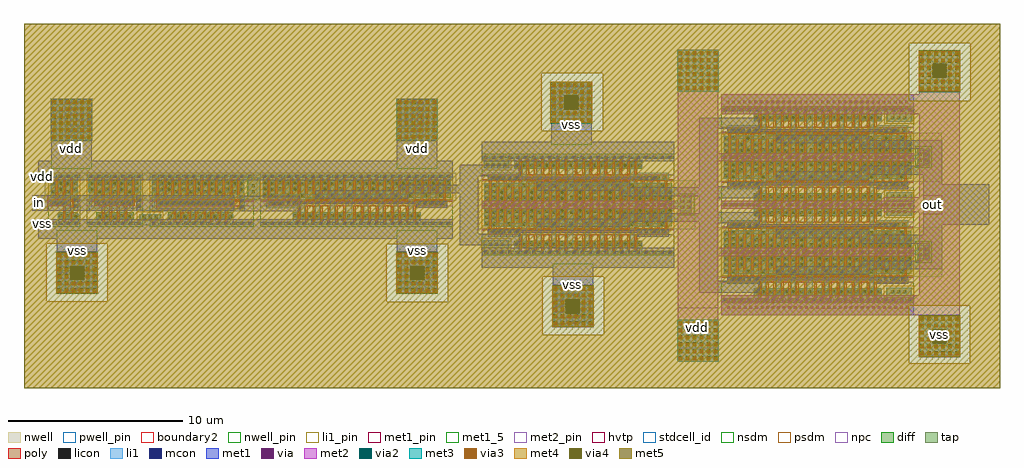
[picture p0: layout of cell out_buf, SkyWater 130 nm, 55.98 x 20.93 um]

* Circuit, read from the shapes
.subckt out_buf in out vdd vss
XM1 sky130_fd_sc_hd__clkinv_4_1/A in vss vss sky130_fd_pr__nfet_01v8 w=0.42 l=0.15 m=2
XM2 sky130_fd_sc_hd__clkinv_8_2/A sky130_fd_sc_hd__clkinv_4_1/A vss vss sky130_fd_pr__nfet_01v8 w=0.42 l=0.15 m=4
XM3 sky130_fd_sc_hd__clkinv_16_3/A sky130_fd_sc_hd__clkinv_8_2/A vss vss sky130_fd_pr__nfet_01v8 w=0.42 l=0.15 m=8
XM4 sky130_fd_sc_hd__clkinv_16_4/A sky130_fd_sc_hd__clkinv_16_3/A vss vss sky130_fd_pr__nfet_01v8 w=0.42 l=0.15 m=16
XM5 sky130_fd_sc_hd__clkinv_16_6/A sky130_fd_sc_hd__clkinv_16_4/A vss vss sky130_fd_pr__nfet_01v8 w=0.42 l=0.15 m=32
XM6 out sky130_fd_sc_hd__clkinv_16_6/A vss vss sky130_fd_pr__nfet_01v8 w=0.42 l=0.15 m=64
XM7 vdd in sky130_fd_sc_hd__clkinv_4_1/A vdd sky130_fd_pr__pfet_01v8_hvt w=1 l=0.15 m=3
XM8 sky130_fd_sc_hd__clkinv_8_2/A sky130_fd_sc_hd__clkinv_4_1/A vdd vdd sky130_fd_pr__pfet_01v8_hvt w=1 l=0.15 m=6
XM9 sky130_fd_sc_hd__clkinv_16_3/A sky130_fd_sc_hd__clkinv_8_2/A vdd vdd sky130_fd_pr__pfet_01v8_hvt w=1 l=0.15 m=12
XM10 sky130_fd_sc_hd__clkinv_16_4/A sky130_fd_sc_hd__clkinv_16_3/A vdd vdd sky130_fd_pr__pfet_01v8_hvt w=1 l=0.15 m=24
XM11 sky130_fd_sc_hd__clkinv_16_6/A sky130_fd_sc_hd__clkinv_16_4/A vdd vdd sky130_fd_pr__pfet_01v8_hvt w=1 l=0.15 m=48
XM12 out sky130_fd_sc_hd__clkinv_16_6/A vdd vdd sky130_fd_pr__pfet_01v8_hvt w=1 l=0.15 m=96
.ends

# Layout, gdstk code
import gdstk
lib = gdstk.Library(unit=1e-6, precision=1e-09)
def R(c, l, rs):  # rectangles x0, y0, x1, y1
    for r in rs: c.add(gdstk.rectangle(r[:2], r[2:], *l))
def A(c, l, x, y, w, h, nx, ny, dx, dy):  # array of equal rectangles
    R(c, l, [(x+i*dx, y+j*dy, x+i*dx+w, y+j*dy+h) for i in range(nx) for j in range(ny)])
def P(c, l, *ps):  # polygons
    for p in ps: c.add(gdstk.Polygon(p, *l))
nwell_pin = (64, 16)
nwell = (64, 20)
diff = (65, 20)
tap = (65, 44)
poly = (66, 20)
licon = (66, 44)
li1_pin = (67, 16)
li1 = (67, 20)
mcon = (67, 44)
met1_5 = (68, 5)
met1_pin = (68, 16)
met1 = (68, 20)
via = (68, 44)
met2_pin = (69, 16)
met2 = (69, 20)
via2 = (69, 44)
met3 = (70, 20)
via3 = (70, 44)
met4 = (71, 20)
via4 = (71, 44)
met5 = (72, 20)
hvtp = (78, 44)
stdcell_id = (81, 4)
nsdm = (93, 44)
psdm = (94, 20)
npc = (95, 20)
pwell_pin = (122, 16)
boundary2 = (236, 0)

sky130_fd_sc_hd__clkinv_ = lib.new_cell('sky130_fd_sc_hd__clkinv_2')
R(sky130_fd_sc_hd__clkinv_, nwell_pin, [(0.145,2.635,0.315,2.805)])
R(sky130_fd_sc_hd__clkinv_, nwell, [(-0.19,1.305,2.03,2.91)])
R(sky130_fd_sc_hd__clkinv_, diff, [(0.6,0.235,1.705,0.655), (0.155,1.485,1.695,2.485)])
R(sky130_fd_sc_hd__clkinv_, poly, [(0.155,1.015,0.865,1.025), (0.155,1.295,0.42,1.305)])
P(sky130_fd_sc_hd__clkinv_, poly, [(1.445,1.295),(1.43,1.295),(1.43,2.615),(1.28,2.615),(1.28,1.295),(1,1.295),(1,2.615),(0.85,2.615),(0.85,1.295),(0.57,1.295),(0.57,2.615),(0.42,2.615),(0.42,1.295),(0.155,1.295),(0.155,1.025),(0.865,1.025),(0.865,0.105),(1.015,0.105),(1.015,1.025),(1.295,1.025),(1.295,0.105),(1.445,0.105)])
A(sky130_fd_sc_hd__clkinv_, licon, 0.235, 1.075, 0.17, 0.17, 3, 1, 0.34, 0)
R(sky130_fd_sc_hd__clkinv_, licon, [(1.495,0.305,1.665,0.475), (0.64,0.36,0.81,0.53), (1.07,0.36,1.24,0.53), (0.195,1.745,0.365,1.915), (1.055,1.745,1.225,1.915), (0.625,1.88,0.795,2.05), (1.485,1.88,1.655,2.05), (0.195,2.185,0.365,2.355), (1.055,2.185,1.225,2.355), (0.625,2.22,0.795,2.39), (1.485,2.22,1.655,2.39)])
A(sky130_fd_sc_hd__clkinv_, li1_pin, 0.145, 1.105, 0.17, 0.17, 4, 1, 0.46, 0)
R(sky130_fd_sc_hd__clkinv_, li1_pin, [(1.525,0.765,1.695,0.935), (1.525,1.445,1.695,1.615)])
R(sky130_fd_sc_hd__clkinv_, li1, [(0.085,1.065,1.305,1.29)])
P(sky130_fd_sc_hd__clkinv_, li1, [(1.755,1.63),(1.27,1.63),(1.27,2.435),(1.01,2.435),(1.01,1.63),(0.41,1.63),(0.41,2.435),(0.155,2.435),(0.155,1.46),(1.475,1.46),(1.475,0.895),(1.025,0.895),(1.025,0.28),(1.25,0.28),(1.25,0.725),(1.755,0.725)],
  [(1.84,0.085),(1.75,0.085),(1.75,0.555),(1.42,0.555),(1.42,0.085),(0.855,0.085),(0.855,0.61),(0.56,0.61),(0.56,0.085),(0,0.085),(0,-0.085),(1.84,-0.085)],
  [(1.84,2.805),(0,2.805),(0,2.635),(0.58,2.635),(0.58,1.8),(0.84,1.8),(0.84,2.635),(1.44,2.635),(1.44,1.8),(1.695,1.8),(1.695,2.635),(1.84,2.635)])
A(sky130_fd_sc_hd__clkinv_, mcon, 0.145, -0.085, 0.17, 0.17, 4, 2, 0.46, 2.72)
R(sky130_fd_sc_hd__clkinv_, met1_pin, [(0.145,-0.085,0.315,0.085), (0.145,2.635,0.315,2.805)])
R(sky130_fd_sc_hd__clkinv_, hvtp, [(0,1.25,1.84,2.72)])
R(sky130_fd_sc_hd__clkinv_, stdcell_id, [(0,0,1.84,2.72)])
R(sky130_fd_sc_hd__clkinv_, nsdm, [(0,-0.19,1.84,1.015)])
R(sky130_fd_sc_hd__clkinv_, psdm, [(0,1.355,1.84,2.91)])
R(sky130_fd_sc_hd__clkinv_, npc, [(0,0.975,1.84,1.345)])
R(sky130_fd_sc_hd__clkinv_, pwell_pin, [(0.145,-0.085,0.315,0.085)])
R(sky130_fd_sc_hd__clkinv_, boundary2, [(0,0,1.84,2.72)])
sky130_fd_sc_hd__clkinv_.add(gdstk.FlexPath([(0,2.72),(1.84,2.72)], 0.48, ends="flush", simple_path=True, layer=68, datatype=20))  # met1
sky130_fd_sc_hd__clkinv_.add(gdstk.FlexPath([(0,0),(1.84,0)], 0.48, ends="flush", simple_path=True, layer=68, datatype=20))  # met1
sky130_fd_sc_hd__clkinv_.add(gdstk.Label('Y', (1.61,0.85), layer=67, texttype=5))
sky130_fd_sc_hd__clkinv_.add(gdstk.Label('Y', (1.61,1.19), layer=67, texttype=5))
sky130_fd_sc_hd__clkinv_.add(gdstk.Label('Y', (1.61,1.53), layer=67, texttype=5))
sky130_fd_sc_hd__clkinv_.add(gdstk.Label('A', (1.15,1.19), layer=67, texttype=5))
sky130_fd_sc_hd__clkinv_.add(gdstk.Label('A', (0.69,1.19), layer=67, texttype=5))
sky130_fd_sc_hd__clkinv_.add(gdstk.Label('A', (0.23,1.19), layer=67, texttype=5))
sky130_fd_sc_hd__clkinv_.add(gdstk.Label('VNB', (0.23,0), layer=64, texttype=59))
sky130_fd_sc_hd__clkinv_.add(gdstk.Label('VPB', (0.23,2.72), layer=64, texttype=5))
sky130_fd_sc_hd__clkinv_.add(gdstk.Label('VPWR', (0.23,2.72), layer=68, texttype=5))
sky130_fd_sc_hd__clkinv_.add(gdstk.Label('VGND', (0.23,0), layer=68, texttype=5))
sky130_fd_sc_hd__clkinv_.add(gdstk.Label('clkinv_2', (0,0), layer=83, texttype=44))

c_sky130_fd_sc_hd__clkinv_ = lib.new_cell('sky130_fd_sc_hd__clkinv_4')
R(c_sky130_fd_sc_hd__clkinv_, nwell_pin, [(0.145,2.635,0.315,2.805)])
R(c_sky130_fd_sc_hd__clkinv_, nwell, [(-0.19,1.305,3.41,2.91)])
R(c_sky130_fd_sc_hd__clkinv_, diff, [(0.54,0.235,2.705,0.655), (0.135,1.485,3.085,2.485)])
P(c_sky130_fd_sc_hd__clkinv_, poly, [(2.74,2.615),(2.59,2.615),(2.59,1.295),(2.31,1.295),(2.31,2.615),(2.16,2.615),(2.16,1.295),(1.88,1.295),(1.88,2.615),(1.73,2.615),(1.73,1.295),(1.45,1.295),(1.45,2.615),(1.3,2.615),(1.3,1.295),(1.02,1.295),(1.02,2.615),(0.87,2.615),(0.87,1.295),(0.59,1.295),(0.59,2.615),(0.44,2.615),(0.44,1.025),(0.87,1.025),(0.87,0.105),(1.02,0.105),(1.02,1.025),(1.3,1.025),(1.3,0.105),(1.45,0.105),(1.45,1.025),(1.73,1.025),(1.73,0.105),(1.88,0.105),(1.88,1.025),(2.16,1.025),(2.16,0.105),(2.31,0.105),(2.31,1.025),(2.74,1.025)])
A(c_sky130_fd_sc_hd__clkinv_, licon, 0.645, 0.305, 0.17, 0.17, 3, 2, 0.86, 1.44)
A(c_sky130_fd_sc_hd__clkinv_, licon, 0.575, 1.075, 0.17, 0.17, 6, 1, 0.34, 0)
A(c_sky130_fd_sc_hd__clkinv_, licon, 0.215, 1.88, 0.17, 0.17, 4, 2, 0.86, 0.34)
A(c_sky130_fd_sc_hd__clkinv_, licon, 0.645, 2.185, 0.17, 0.17, 3, 1, 0.86, 0)
R(c_sky130_fd_sc_hd__clkinv_, licon, [(1.075,0.36,1.245,0.53), (1.935,0.36,2.105,0.53)])
A(c_sky130_fd_sc_hd__clkinv_, li1_pin, 0.605, 1.105, 0.17, 0.17, 6, 1, 0.46, 0)
R(c_sky130_fd_sc_hd__clkinv_, li1_pin, [(2.905,0.765,3.075,0.935), (2.905,1.445,3.075,1.615)])
R(c_sky130_fd_sc_hd__clkinv_, li1, [(0.445,1.065,2.66,1.29)])
P(c_sky130_fd_sc_hd__clkinv_, li1, [(3.22,0.085),(2.615,0.085),(2.615,0.555),(2.315,0.555),(2.315,0.085),(1.72,0.085),(1.72,0.555),(1.46,0.555),(1.46,0.085),(0.86,0.085),(0.86,0.555),(0.565,0.555),(0.565,0.085),(0,0.085),(0,-0.085),(3.22,-0.085)],
  [(3.22,2.805),(0,2.805),(0,2.635),(0.085,2.635),(0.085,1.8),(0.43,1.8),(0.43,2.635),(1.03,2.635),(1.03,1.8),(1.29,1.8),(1.29,2.635),(1.89,2.635),(1.89,1.8),(2.15,1.8),(2.15,2.635),(2.75,2.635),(2.75,1.8),(3.135,1.8),(3.135,2.635),(3.22,2.635)],
  [(3.135,1.63),(2.835,1.63),(2.835,0.895),(0.275,0.895),(0.275,1.46),(2.835,1.46),(2.835,1.63),(2.58,1.63),(2.58,2.435),(2.32,2.435),(2.32,1.63),(1.72,1.63),(1.72,2.435),(1.465,2.435),(1.465,1.63),(0.86,1.63),(0.86,2.435),(0.605,2.435),(0.605,1.63),(0.105,1.63),(0.105,0.725),(1.03,0.725),(1.03,0.28),(1.29,0.28),(1.29,0.725),(1.89,0.725),(1.89,0.28),(2.145,0.28),(2.145,0.725),(3.135,0.725)])
A(c_sky130_fd_sc_hd__clkinv_, mcon, 0.145, -0.085, 0.17, 0.17, 7, 2, 0.46, 2.72)
R(c_sky130_fd_sc_hd__clkinv_, met1_pin, [(0.145,-0.085,0.315,0.085), (0.145,2.635,0.315,2.805)])
R(c_sky130_fd_sc_hd__clkinv_, hvtp, [(0,1.25,3.22,2.72)])
R(c_sky130_fd_sc_hd__clkinv_, stdcell_id, [(0,0,3.22,2.72)])
R(c_sky130_fd_sc_hd__clkinv_, nsdm, [(0,-0.19,3.22,1.015)])
R(c_sky130_fd_sc_hd__clkinv_, psdm, [(0,1.355,3.22,2.91)])
R(c_sky130_fd_sc_hd__clkinv_, npc, [(0,0.975,3.22,1.345)])
R(c_sky130_fd_sc_hd__clkinv_, pwell_pin, [(0.145,-0.085,0.315,0.085)])
R(c_sky130_fd_sc_hd__clkinv_, boundary2, [(0,0,3.22,2.72)])
c_sky130_fd_sc_hd__clkinv_.add(gdstk.FlexPath([(0,2.72),(3.22,2.72)], 0.48, ends="flush", simple_path=True, layer=68, datatype=20))  # met1
c_sky130_fd_sc_hd__clkinv_.add(gdstk.FlexPath([(0,0),(3.22,0)], 0.48, ends="flush", simple_path=True, layer=68, datatype=20))  # met1
c_sky130_fd_sc_hd__clkinv_.add(gdstk.Label('A', (1.15,1.19), layer=67, texttype=5))
c_sky130_fd_sc_hd__clkinv_.add(gdstk.Label('A', (1.61,1.19), layer=67, texttype=5))
c_sky130_fd_sc_hd__clkinv_.add(gdstk.Label('Y', (2.99,0.85), layer=67, texttype=5))
c_sky130_fd_sc_hd__clkinv_.add(gdstk.Label('A', (0.69,1.19), layer=67, texttype=5))
c_sky130_fd_sc_hd__clkinv_.add(gdstk.Label('Y', (2.99,1.53), layer=67, texttype=5))
c_sky130_fd_sc_hd__clkinv_.add(gdstk.Label('A', (2.53,1.19), layer=67, texttype=5))
c_sky130_fd_sc_hd__clkinv_.add(gdstk.Label('A', (2.07,1.19), layer=67, texttype=5))
c_sky130_fd_sc_hd__clkinv_.add(gdstk.Label('Y', (2.99,1.19), layer=67, texttype=5))
c_sky130_fd_sc_hd__clkinv_.add(gdstk.Label('VNB', (0.23,0), layer=64, texttype=59))
c_sky130_fd_sc_hd__clkinv_.add(gdstk.Label('VPB', (0.23,2.72), layer=64, texttype=5))
c_sky130_fd_sc_hd__clkinv_.add(gdstk.Label('VPWR', (0.23,2.72), layer=68, texttype=5))
c_sky130_fd_sc_hd__clkinv_.add(gdstk.Label('VGND', (0.23,0), layer=68, texttype=5))
c_sky130_fd_sc_hd__clkinv_.add(gdstk.Label('clkinv_4', (0,0), layer=83, texttype=44))

c_sky130_fd_sc_hd__clkinv__ = lib.new_cell('sky130_fd_sc_hd__clkinv_8')
R(c_sky130_fd_sc_hd__clkinv__, nwell_pin, [(0.15,2.635,0.32,2.805)])
R(c_sky130_fd_sc_hd__clkinv__, nwell, [(-0.19,1.305,6.17,2.91)])
R(c_sky130_fd_sc_hd__clkinv__, diff, [(1.075,0.235,4.765,0.655), (0.135,1.485,5.43,2.485)])
P(c_sky130_fd_sc_hd__clkinv__, poly, [(5.17,2.615),(5.02,2.615),(5.02,1.385),(4.75,1.385),(4.75,2.615),(4.6,2.615),(4.6,1.385),(4.33,1.385),(4.33,2.615),(4.18,2.615),(4.18,1.385),(3.91,1.385),(3.91,2.615),(3.76,2.615),(3.76,1.385),(3.49,1.385),(3.49,2.615),(3.34,2.615),(3.34,1.385),(3.07,1.385),(3.07,2.615),(2.92,2.615),(2.92,1.385),(2.65,1.385),(2.65,2.615),(2.5,2.615),(2.5,1.385),(2.23,1.385),(2.23,2.615),(2.08,2.615),(2.08,1.385),(1.81,1.385),(1.81,2.615),(1.66,2.615),(1.66,1.385),(1.39,1.385),(1.39,2.615),(1.24,2.615),(1.24,1.385),(0.965,1.385),(0.965,2.615),(0.815,2.615),(0.815,1.385),(0.545,1.385),(0.545,2.615),(0.395,2.615),(0.395,0.81),(1.34,0.81),(1.34,0.105),(1.49,0.105),(1.49,0.81),(1.77,0.81),(1.77,0.105),(1.92,0.105),(1.92,0.81),(2.2,0.81),(2.2,0.105),(2.35,0.105),(2.35,0.81),(2.63,0.81),(2.63,0.105),(2.78,0.105),(2.78,0.81),(3.06,0.81),(3.06,0.105),(3.21,0.105),(3.21,0.81),(3.49,0.81),(3.49,0.105),(3.64,0.105),(3.64,0.81),(3.92,0.81),(3.92,0.105),(4.07,0.105),(4.07,0.81),(4.35,0.81),(4.35,0.105),(4.5,0.105),(4.5,0.81),(5.17,0.81)])
A(c_sky130_fd_sc_hd__clkinv__, licon, 1.115, 0.305, 0.17, 0.17, 5, 1, 0.86, 0)
A(c_sky130_fd_sc_hd__clkinv__, licon, 1.545, 0.36, 0.17, 0.17, 4, 1, 0.86, 0)
A(c_sky130_fd_sc_hd__clkinv__, licon, 0.535, 1.075, 0.17, 0.17, 13, 1, 0.34, 0)
A(c_sky130_fd_sc_hd__clkinv__, licon, 1.44, 1.745, 0.17, 0.17, 5, 2, 0.84, 0.44)
A(c_sky130_fd_sc_hd__clkinv__, licon, 1.02, 1.88, 0.17, 0.17, 6, 2, 0.84, 0.34)
R(c_sky130_fd_sc_hd__clkinv__, licon, [(0.595,1.845,0.765,2.015), (0.175,1.88,0.345,2.05), (0.595,2.185,0.765,2.355), (0.175,2.22,0.345,2.39)])
A(c_sky130_fd_sc_hd__clkinv__, li1_pin, 5.21, 0.765, 0.17, 0.17, 1, 3, 0, 0.34)
A(c_sky130_fd_sc_hd__clkinv__, li1_pin, 0.61, 1.105, 0.17, 0.17, 9, 1, 0.46, 0)
R(c_sky130_fd_sc_hd__clkinv__, li1, [(0.455,1.035,4.865,1.29)])
P(c_sky130_fd_sc_hd__clkinv__, li1, [(5.98,2.805),(0,2.805),(0,2.635),(0.135,2.635),(0.135,1.8),(0.395,1.8),(0.395,2.635),(0.975,2.635),(0.975,1.8),(1.235,1.8),(1.235,2.635),(1.815,2.635),(1.815,1.8),(2.075,1.8),(2.075,2.635),(2.665,2.635),(2.665,1.8),(2.91,1.8),(2.91,2.635),(3.495,2.635),(3.495,1.8),(3.75,1.8),(3.75,2.635),(4.345,2.635),(4.345,1.8),(4.595,1.8),(4.595,2.635),(5.175,2.635),(5.175,1.8),(5.43,1.8),(5.43,2.635),(5.98,2.635)],
  [(5.98,0.085),(4.805,0.085),(4.805,0.525),(4.475,0.525),(4.475,0.085),(3.945,0.085),(3.945,0.525),(3.615,0.525),(3.615,0.085),(3.085,0.085),(3.085,0.525),(2.755,0.525),(2.755,0.085),(2.225,0.085),(2.225,0.525),(1.895,0.525),(1.895,0.085),(1.365,0.085),(1.365,0.525),(1.035,0.525),(1.035,0.085),(0,0.085),(0,-0.085),(5.98,-0.085)],
  [(5.44,1.63),(5.17,1.63),(5.17,0.865),(0.285,0.865),(0.285,1.46),(5.17,1.46),(5.17,1.63),(5.005,1.63),(5.005,2.435),(4.765,2.435),(4.765,1.63),(4.175,1.63),(4.175,2.435),(3.92,2.435),(3.92,1.63),(3.325,1.63),(3.325,2.435),(3.08,2.435),(3.08,1.63),(2.495,1.63),(2.495,2.435),(2.245,2.435),(2.245,1.63),(1.645,1.63),(1.645,2.435),(1.405,2.435),(1.405,1.63),(0.805,1.63),(0.805,2.435),(0.565,2.435),(0.565,1.63),(0.115,1.63),(0.115,0.695),(1.535,0.695),(1.535,0.28),(1.725,0.28),(1.725,0.695),(2.395,0.695),(2.395,0.28),(2.585,0.28),(2.585,0.695),(3.255,0.695),(3.255,0.28),(3.445,0.28),(3.445,0.695),(4.115,0.695),(4.115,0.28),(4.305,0.28),(4.305,0.695),(5.44,0.695)])
A(c_sky130_fd_sc_hd__clkinv__, mcon, 0.145, -0.085, 0.17, 0.17, 13, 2, 0.46, 2.72)
R(c_sky130_fd_sc_hd__clkinv__, met1_pin, [(0.15,-0.085,0.32,0.085), (0.15,2.635,0.32,2.805)])
R(c_sky130_fd_sc_hd__clkinv__, hvtp, [(0,1.25,5.98,2.72)])
R(c_sky130_fd_sc_hd__clkinv__, stdcell_id, [(0,0,5.98,2.72)])
R(c_sky130_fd_sc_hd__clkinv__, nsdm, [(0,-0.19,5.98,1.015)])
R(c_sky130_fd_sc_hd__clkinv__, psdm, [(0,1.355,5.98,2.91)])
R(c_sky130_fd_sc_hd__clkinv__, npc, [(0,0.975,5.98,1.345)])
R(c_sky130_fd_sc_hd__clkinv__, pwell_pin, [(0.15,-0.085,0.32,0.085)])
R(c_sky130_fd_sc_hd__clkinv__, boundary2, [(0,0,5.98,2.72)])
c_sky130_fd_sc_hd__clkinv__.add(gdstk.FlexPath([(0,2.72),(5.98,2.72)], 0.48, ends="flush", simple_path=True, layer=68, datatype=20))  # met1
c_sky130_fd_sc_hd__clkinv__.add(gdstk.FlexPath([(0,0),(5.98,0)], 0.48, ends="flush", simple_path=True, layer=68, datatype=20))  # met1
c_sky130_fd_sc_hd__clkinv__.add(gdstk.Label('Y', (5.295,1.53), layer=67, texttype=5))
c_sky130_fd_sc_hd__clkinv__.add(gdstk.Label('Y', (5.295,1.19), layer=67, texttype=5))
c_sky130_fd_sc_hd__clkinv__.add(gdstk.Label('Y', (5.295,0.85), layer=67, texttype=5))
c_sky130_fd_sc_hd__clkinv__.add(gdstk.Label('A', (2.535,1.19), layer=67, texttype=5))
c_sky130_fd_sc_hd__clkinv__.add(gdstk.Label('A', (2.075,1.19), layer=67, texttype=5))
c_sky130_fd_sc_hd__clkinv__.add(gdstk.Label('A', (1.615,1.19), layer=67, texttype=5))
c_sky130_fd_sc_hd__clkinv__.add(gdstk.Label('A', (1.155,1.19), layer=67, texttype=5))
c_sky130_fd_sc_hd__clkinv__.add(gdstk.Label('A', (4.375,1.19), layer=67, texttype=5))
c_sky130_fd_sc_hd__clkinv__.add(gdstk.Label('A', (3.915,1.19), layer=67, texttype=5))
c_sky130_fd_sc_hd__clkinv__.add(gdstk.Label('A', (3.455,1.19), layer=67, texttype=5))
c_sky130_fd_sc_hd__clkinv__.add(gdstk.Label('A', (2.995,1.19), layer=67, texttype=5))
c_sky130_fd_sc_hd__clkinv__.add(gdstk.Label('A', (0.695,1.19), layer=67, texttype=5))
c_sky130_fd_sc_hd__clkinv__.add(gdstk.Label('VNB', (0.235,0), layer=64, texttype=59))
c_sky130_fd_sc_hd__clkinv__.add(gdstk.Label('VPB', (0.235,2.72), layer=64, texttype=5))
c_sky130_fd_sc_hd__clkinv__.add(gdstk.Label('VGND', (0.23,0), layer=68, texttype=5))
c_sky130_fd_sc_hd__clkinv__.add(gdstk.Label('VPWR', (0.23,2.72), layer=68, texttype=5))
c_sky130_fd_sc_hd__clkinv__.add(gdstk.Label('clkinv_8', (0,0), layer=83, texttype=44))

c_sky130_fd_sc_hd__clkinv___ = lib.new_cell('sky130_fd_sc_hd__clkinv_16')
R(c_sky130_fd_sc_hd__clkinv___, nwell_pin, [(0.145,2.635,0.315,2.805)])
R(c_sky130_fd_sc_hd__clkinv___, nwell, [(-0.19,1.305,11.23,2.91)])
R(c_sky130_fd_sc_hd__clkinv___, diff, [(1.865,0.235,9.185,0.655), (0.135,1.485,10.905,2.485)])
P(c_sky130_fd_sc_hd__clkinv___, poly, [(10.64,2.615),(10.49,2.615),(10.49,1.35),(10.21,1.35),(10.21,2.615),(10.06,2.615),(10.06,1.35),(9.78,1.35),(9.78,2.615),(9.63,2.615),(9.63,1.35),(9.35,1.35),(9.35,2.615),(9.2,2.615),(9.2,1.35),(8.92,1.35),(8.92,2.615),(8.77,2.615),(8.77,1.35),(8.49,1.35),(8.49,2.615),(8.34,2.615),(8.34,1.35),(8.06,1.35),(8.06,2.615),(7.91,2.615),(7.91,1.35),(7.63,1.35),(7.63,2.615),(7.48,2.615),(7.48,1.35),(7.2,1.35),(7.2,2.615),(7.05,2.615),(7.05,1.35),(6.77,1.35),(6.77,2.615),(6.62,2.615),(6.62,1.35),(6.34,1.35),(6.34,2.615),(6.19,2.615),(6.19,1.35),(5.91,1.35),(5.91,2.615),(5.76,2.615),(5.76,1.35),(5.48,1.35),(5.48,2.615),(5.33,2.615),(5.33,1.35),(4.895,1.35),(4.895,2.615),(4.745,2.615),(4.745,1.35),(4.43,1.35),(4.43,2.615),(4.28,2.615),(4.28,1.35),(4,1.35),(4,2.615),(3.85,2.615),(3.85,1.35),(3.57,1.35),(3.57,2.615),(3.42,2.615),(3.42,1.35),(3.14,1.35),(3.14,2.615),(2.99,2.615),(2.99,1.35),(2.71,1.35),(2.71,2.615),(2.56,2.615),(2.56,1.35),(2.28,1.35),(2.28,2.615),(2.13,2.615),(2.13,1.35),(1.85,1.35),(1.85,2.615),(1.7,2.615),(1.7,1.35),(1.42,1.35),(1.42,2.615),(1.27,2.615),(1.27,1.35),(0.99,1.35),(0.99,2.615),(0.84,2.615),(0.84,1.35),(0.56,1.35),(0.56,2.615),(0.41,2.615),(0.41,0.99),(2.13,0.99),(2.13,0.105),(2.28,0.105),(2.28,0.99),(2.56,0.99),(2.56,0.105),(2.71,0.105),(2.71,0.99),(2.99,0.99),(2.99,0.105),(3.14,0.105),(3.14,0.99),(3.42,0.99),(3.42,0.105),(3.57,0.105),(3.57,0.99),(3.85,0.99),(3.85,0.105),(4,0.105),(4,0.99),(4.28,0.99),(4.28,0.105),(4.43,0.105),(4.43,0.99),(4.745,0.99),(4.745,0.105),(4.895,0.105),(4.895,0.99),(5.33,0.99),(5.33,0.105),(5.48,0.105),(5.48,0.99),(5.76,0.99),(5.76,0.105),(5.91,0.105),(5.91,0.99),(6.19,0.99),(6.19,0.105),(6.34,0.105),(6.34,0.99),(6.62,0.99),(6.62,0.105),(6.77,0.105),(6.77,0.99),(7.05,0.99),(7.05,0.105),(7.2,0.105),(7.2,0.99),(7.48,0.99),(7.48,0.105),(7.63,0.105),(7.63,0.99),(7.91,0.99),(7.91,0.105),(8.06,0.105),(8.06,0.99),(8.34,0.99),(8.34,0.105),(8.49,0.105),(8.49,0.99),(8.77,0.99),(8.77,0.105),(8.92,0.105),(8.92,0.99),(10.64,0.99)])
A(c_sky130_fd_sc_hd__clkinv___, licon, 1.905, 0.36, 0.17, 0.17, 6, 1, 0.43, 0)
A(c_sky130_fd_sc_hd__clkinv___, licon, 5.535, 0.36, 0.17, 0.17, 9, 1, 0.43, 0)
A(c_sky130_fd_sc_hd__clkinv___, licon, 0.505, 1.075, 0.17, 0.17, 5, 1, 0.34, 0)
A(c_sky130_fd_sc_hd__clkinv___, licon, 9.015, 1.075, 0.17, 0.17, 5, 1, 0.34, 0)
A(c_sky130_fd_sc_hd__clkinv___, licon, 0.615, 1.535, 0.17, 0.17, 5, 1, 0.86, 0)
A(c_sky130_fd_sc_hd__clkinv___, licon, 5.965, 1.535, 0.17, 0.17, 6, 2, 0.86, 0.665)
A(c_sky130_fd_sc_hd__clkinv___, licon, 0.19, 1.575, 0.17, 0.17, 1, 3, 0, 0.34)
A(c_sky130_fd_sc_hd__clkinv___, licon, 1.045, 1.915, 0.17, 0.17, 4, 2, 0.86, 0.34)
A(c_sky130_fd_sc_hd__clkinv___, licon, 6.395, 1.915, 0.17, 0.17, 5, 2, 0.86, 0.34)
A(c_sky130_fd_sc_hd__clkinv___, licon, 1.475, 2.2, 0.17, 0.17, 4, 1, 0.86, 0)
R(c_sky130_fd_sc_hd__clkinv___, licon, [(4.51,0.36,4.68,0.53), (4.98,0.36,5.15,0.53), (5.08,1.535,5.25,1.705), (0.615,1.875,0.785,2.045), (4.505,1.915,4.675,2.085), (5.53,1.915,5.7,2.085), (10.69,1.915,10.86,2.085), (5.08,2.2,5.25,2.37), (0.615,2.215,0.785,2.385), (4.505,2.255,4.675,2.425), (5.53,2.255,5.7,2.425), (10.69,2.255,10.86,2.425)])
R(c_sky130_fd_sc_hd__clkinv___, li1_pin, [(1.985,1.105,2.155,1.275), (5.205,1.445,5.375,1.615)])
R(c_sky130_fd_sc_hd__clkinv___, li1, [(0.345,0.895,2.155,1.275), (8.93,0.895,10.71,1.275)])
P(c_sky130_fd_sc_hd__clkinv___, li1, [(10.48,2.45),(10.225,2.45),(10.225,1.665),(9.605,1.665),(9.605,2.45),(9.365,2.45),(9.365,1.665),(8.755,1.665),(8.755,2.45),(8.505,2.45),(8.505,1.665),(7.895,1.665),(7.895,2.45),(7.645,2.45),(7.645,1.665),(7.035,1.665),(7.035,2.45),(6.785,2.45),(6.785,1.665),(6.175,1.665),(6.175,2.45),(5.925,2.45),(5.925,1.665),(5.28,1.665),(5.28,2.45),(4.905,2.45),(4.905,1.665),(4.255,1.665),(4.255,2.45),(4.015,2.45),(4.015,1.665),(3.41,1.665),(3.41,2.45),(3.155,2.45),(3.155,1.665),(2.55,1.665),(2.55,2.465),(2.325,2.465),(2.325,1.665),(1.69,1.665),(1.69,2.45),(1.435,2.45),(1.435,1.665),(0.83,1.665),(0.83,2.465),(0.575,2.465),(0.575,1.455),(2.325,1.455),(2.325,0.28),(2.55,0.28),(2.55,1.415),(3.155,1.415),(3.155,0.28),(3.41,0.28),(3.41,1.415),(4.015,1.415),(4.015,0.28),(4.255,0.28),(4.255,1.415),(4.905,1.415),(4.905,0.28),(5.255,0.28),(5.255,1.415),(5.925,1.415),(5.925,0.28),(6.175,0.28),(6.175,1.415),(6.785,1.415),(6.785,0.28),(7.035,0.28),(7.035,1.415),(7.645,1.415),(7.645,0.28),(7.895,0.28),(7.895,1.415),(8.505,1.415),(8.505,0.28),(8.755,0.28),(8.755,1.455),(10.48,1.455)],
  [(11.04,2.805),(0,2.805),(0,2.635),(0.14,2.635),(0.14,1.495),(0.405,1.495),(0.405,2.635),(1,2.635),(1,1.835),(1.26,1.835),(1.26,2.635),(1.865,2.635),(1.865,1.835),(2.12,1.835),(2.12,2.635),(2.72,2.635),(2.72,1.835),(2.98,1.835),(2.98,2.635),(3.585,2.635),(3.585,1.835),(3.84,1.835),(3.84,2.635),(4.465,2.635),(4.465,1.835),(4.72,1.835),(4.72,2.635),(5.49,2.635),(5.49,1.835),(5.745,1.835),(5.745,2.12),(5.75,2.12),(5.75,2.635),(6.355,2.635),(6.355,1.835),(6.61,1.835),(6.61,2.635),(7.215,2.635),(7.215,1.835),(7.47,1.835),(7.47,2.635),(8.075,2.635),(8.075,1.835),(8.33,1.835),(8.33,2.635),(8.935,2.635),(8.935,1.835),(9.19,1.835),(9.19,2.635),(9.795,2.635),(9.795,1.835),(10.05,1.835),(10.05,2.635),(10.65,2.635),(10.65,1.835),(10.91,1.835),(10.91,2.635),(11.04,2.635)],
  [(11.04,0.085),(9.195,0.085),(9.195,0.61),(8.93,0.61),(8.93,0.085),(8.335,0.085),(8.335,0.61),(8.07,0.61),(8.07,0.085),(7.475,0.085),(7.475,0.61),(7.21,0.61),(7.21,0.085),(6.575,0.085),(6.575,0.61),(6.35,0.61),(6.35,0.085),(5.755,0.085),(5.755,0.61),(5.49,0.61),(5.49,0.085),(4.73,0.085),(4.73,0.61),(4.465,0.61),(4.465,0.085),(3.845,0.085),(3.845,0.61),(3.58,0.61),(3.58,0.085),(2.985,0.085),(2.985,0.61),(2.72,0.61),(2.72,0.085),(2.125,0.085),(2.125,0.61),(1.855,0.61),(1.855,0.085),(0,0.085),(0,-0.085),(11.04,-0.085)])
A(c_sky130_fd_sc_hd__clkinv___, mcon, 0.145, -0.085, 0.17, 0.17, 24, 2, 0.46, 2.72)
R(c_sky130_fd_sc_hd__clkinv___, mcon, [(1.525,1.105,1.695,1.275), (1.985,1.105,2.155,1.275), (9.345,1.105,9.515,1.275), (9.805,1.105,9.975,1.275)])
R(c_sky130_fd_sc_hd__clkinv___, met1_pin, [(0.145,-0.085,0.315,0.085), (0.145,2.635,0.315,2.805)])
P(c_sky130_fd_sc_hd__clkinv___, met1, [(10.035,1.305),(9.285,1.305),(9.285,1.26),(2.215,1.26),(2.215,1.305),(1.465,1.305),(1.465,1.075),(2.215,1.075),(2.215,1.12),(9.285,1.12),(9.285,1.075),(10.035,1.075)])
R(c_sky130_fd_sc_hd__clkinv___, hvtp, [(0,1.25,11.04,2.72)])
R(c_sky130_fd_sc_hd__clkinv___, stdcell_id, [(0,0,11.04,2.72)])
R(c_sky130_fd_sc_hd__clkinv___, nsdm, [(0,-0.19,11.04,1.015)])
R(c_sky130_fd_sc_hd__clkinv___, psdm, [(0,1.355,11.04,2.91)])
R(c_sky130_fd_sc_hd__clkinv___, npc, [(0,0.975,11.04,1.345)])
R(c_sky130_fd_sc_hd__clkinv___, pwell_pin, [(0.145,-0.085,0.315,0.085)])
R(c_sky130_fd_sc_hd__clkinv___, boundary2, [(0,0,11.04,2.72)])
c_sky130_fd_sc_hd__clkinv___.add(gdstk.FlexPath([(0,2.72),(11.04,2.72)], 0.48, ends="flush", simple_path=True, layer=68, datatype=20))  # met1
c_sky130_fd_sc_hd__clkinv___.add(gdstk.FlexPath([(0,0),(11.04,0)], 0.48, ends="flush", simple_path=True, layer=68, datatype=20))  # met1
c_sky130_fd_sc_hd__clkinv___.add(gdstk.Label('Y', (5.29,1.53), layer=67, texttype=5))
c_sky130_fd_sc_hd__clkinv___.add(gdstk.Label('A', (2.07,1.19), layer=67, texttype=5))
c_sky130_fd_sc_hd__clkinv___.add(gdstk.Label('VGND', (0.23,0), layer=68, texttype=5))
c_sky130_fd_sc_hd__clkinv___.add(gdstk.Label('VPWR', (0.23,2.72), layer=68, texttype=5))
c_sky130_fd_sc_hd__clkinv___.add(gdstk.Label('VNB', (0.23,0), layer=64, texttype=59))
c_sky130_fd_sc_hd__clkinv___.add(gdstk.Label('VPB', (0.23,2.72), layer=64, texttype=5))
c_sky130_fd_sc_hd__clkinv___.add(gdstk.Label('clkinv_16', (0,0), layer=83, texttype=44))

out_buf = lib.new_cell('out_buf')
R(out_buf, nwell, [(47.01,-3.06,51.29,-0.23), (33.275,-0.34,37.115,2.49), (47.01,2.38,51.265,5.21)])
R(out_buf, tap, [(48.065,-4.135,49.545,-3.7), (49.855,-2.12,50.555,-1.14), (24.97,-1.405,26.45,-0.97), (5.225,0.27,6.48,0.54), (48.07,0.44,49.55,0.875), (36.23,0.605,36.93,1.585), (48.07,1.355,49.55,1.79), (11.555,1.51,12.005,2.495), (24.995,3.17,26.445,3.555), (49.855,3.32,50.555,4.3), (48.07,5.845,49.55,6.28)])
R(out_buf, poly, [(8.26,1.075,8.735,1.245), (13.875,1.11,14.21,1.28)])
A(out_buf, licon, 48.365, -4.01, 0.17, 0.17, 3, 1, 0.34, 0)
A(out_buf, licon, 25.27, -1.28, 0.17, 0.17, 3, 1, 0.34, 0)
A(out_buf, licon, 5.435, 0.31, 0.17, 0.17, 3, 1, 0.34, 0)
A(out_buf, licon, 48.37, 0.58, 0.17, 0.17, 3, 2, 0.34, 0.9)
A(out_buf, licon, 25.12, 3.275, 0.17, 0.17, 4, 1, 0.34, 0)
A(out_buf, licon, 48.37, 5.985, 0.17, 0.17, 3, 1, 0.34, 0)
R(out_buf, licon, [(49.945,-1.89,50.115,-1.72), (50.285,-1.89,50.455,-1.72), (49.945,-1.55,50.115,-1.38), (50.285,-1.55,50.455,-1.38), (36.32,0.835,36.49,1.005), (36.66,0.835,36.83,1.005), (36.32,1.175,36.49,1.345), (36.66,1.175,36.83,1.345), (11.69,1.745,11.86,1.915), (11.69,2.085,11.86,2.255), (49.945,3.55,50.115,3.72), (50.285,3.55,50.455,3.72), (49.945,3.89,50.115,4.06), (50.285,3.89,50.455,4.06)])
A(out_buf, li1, 44.58, -2.83, 0.17, 0.17, 3, 2, 0.86, 5.44)
A(out_buf, li1, 44.585, -0.63, 0.17, 0.17, 3, 2, 0.86, 5.44)
A(out_buf, li1, 30.845, -0.11, 0.17, 0.17, 3, 1, 0.86, 0)
A(out_buf, li1, 18.145, 1.535, 0.17, 0.17, 3, 1, 0.86, 0)
A(out_buf, li1, 30.85, 2.09, 0.17, 0.17, 3, 1, 0.86, 0)
R(out_buf, li1, [(47.97,-4.46,49.665,-4.29), (48.11,-4.29,49.495,-3.7), (39.115,-3.295,39.94,-3.12), (48.815,-3.29,49.205,-3.115), (41.81,-2.83,41.98,-2.66), (42.67,-2.83,42.84,-2.66), (43.595,-2.83,43.86,-2.66), (49.885,-2.03,50.52,-1.755), (49.52,-1.755,50.52,-1.54), (25.015,-1.73,26.4,-0.97), (49.885,-1.54,50.52,-1.235), (41.815,-0.63,41.985,-0.46), (42.675,-0.63,42.845,-0.46), (43.6,-0.63,43.865,-0.46), (25.38,-0.575,26.205,-0.4), (35.08,-0.57,35.47,-0.395), (39.115,-0.17,39.94,0), (28.075,-0.11,28.245,0.06), (28.935,-0.11,29.105,0.06), (29.86,-0.11,30.125,0.06), (5.295,-0.09,6.425,0.085), (5.28,0.085,6.435,0.525), (48.115,0.44,49.5,1.03), (10.99,0.695,11.27,1.6), (36.26,0.695,36.895,0.97), (5.055,0.725,5.335,1.63), (1.535,0.765,1.705,1.565), (35.78,0.97,36.895,1.185), (47.975,1.03,49.67,1.2), (12.68,1.045,13.505,1.245), (6.32,1.05,10.685,1.275), (22.345,1.075,22.72,1.245), (0.235,1.08,1.085,1.25), (2.7,1.09,4.835,1.26), (36.26,1.185,36.895,1.49), (48.115,1.2,49.5,1.79), (11.48,1.51,12.12,1.515), (11.48,1.515,12.145,2.635), (15.375,1.535,15.545,1.705), (16.235,1.535,16.405,1.705), (17.16,1.535,17.425,1.705), (28.08,2.09,28.25,2.26), (28.94,2.09,29.11,2.26), (29.865,2.09,30.13,2.26), (39.115,2.145,39.94,2.32), (48.815,2.15,49.205,2.325), (25.38,2.55,26.205,2.72), (41.81,2.61,41.98,2.78), (42.67,2.61,42.84,2.78), (43.595,2.61,43.86,2.78), (11.48,2.635,12.18,2.805), (25.015,3.17,26.4,3.88), (49.885,3.41,50.52,3.685), (49.52,3.685,50.52,3.9), (49.885,3.9,50.52,4.205), (41.815,4.81,41.985,4.98), (42.675,4.81,42.845,4.98), (43.6,4.81,43.865,4.98), (39.115,5.27,39.94,5.44), (48.115,5.845,49.5,6.435), (47.975,6.435,49.67,6.605)])
A(out_buf, mcon, 44.58, -2.83, 0.17, 0.17, 3, 2, 0.86, 5.44)
A(out_buf, mcon, 44.585, -0.63, 0.17, 0.17, 3, 2, 0.86, 5.44)
A(out_buf, mcon, 30.845, -0.11, 0.17, 0.17, 3, 1, 0.86, 0)
A(out_buf, mcon, 6.43, 1.075, 0.17, 0.17, 12, 1, 0.36, 0)
A(out_buf, mcon, 2.78, 1.09, 0.17, 0.17, 6, 1, 0.36, 0)
A(out_buf, mcon, 18.145, 1.535, 0.17, 0.17, 3, 1, 0.86, 0)
A(out_buf, mcon, 30.85, 2.09, 0.17, 0.17, 3, 1, 0.86, 0)
R(out_buf, mcon, [(39.26,-3.295,39.43,-3.125), (39.62,-3.295,39.79,-3.125), (48.925,-3.29,49.095,-3.12), (41.81,-2.83,41.98,-2.66), (42.67,-2.83,42.84,-2.66), (43.64,-2.83,43.81,-2.66), (41.815,-0.63,41.985,-0.46), (42.675,-0.63,42.845,-0.46), (43.645,-0.63,43.815,-0.46), (25.525,-0.575,25.695,-0.405), (25.885,-0.575,26.055,-0.405), (35.19,-0.57,35.36,-0.4), (39.26,-0.17,39.43,0), (39.62,-0.17,39.79,0), (28.075,-0.11,28.245,0.06), (28.935,-0.11,29.105,0.06), (29.905,-0.11,30.075,0.06), (11.05,0.87,11.22,1.04), (1.535,0.9,1.705,1.07), (5.115,0.9,5.285,1.07), (12.825,1.06,12.995,1.23), (13.185,1.06,13.355,1.23), (22.445,1.075,22.615,1.245), (0.395,1.08,0.565,1.25), (0.755,1.08,0.925,1.25), (11.05,1.23,11.22,1.4), (1.535,1.26,1.705,1.43), (5.115,1.26,5.285,1.43), (15.375,1.535,15.545,1.705), (16.235,1.535,16.405,1.705), (17.205,1.535,17.375,1.705), (28.08,2.09,28.25,2.26), (28.94,2.09,29.11,2.26), (29.91,2.09,30.08,2.26), (39.26,2.145,39.43,2.315), (39.62,2.145,39.79,2.315), (48.925,2.15,49.095,2.32), (25.525,2.55,25.695,2.72), (25.885,2.55,26.055,2.72), (41.81,2.61,41.98,2.78), (42.67,2.61,42.84,2.78), (43.64,2.61,43.81,2.78), (41.815,4.81,41.985,4.98), (42.675,4.81,42.845,4.98), (43.645,4.81,43.815,4.98), (39.26,5.27,39.43,5.44), (39.62,5.27,39.79,5.44)])
R(out_buf, met1_5, [(28.935,-4.645,31.265,-2.315), (0.5,-2.72,2.83,-0.39), (20,-2.72,22.33,-0.39), (-0.575,-0.24,-0.095,0.24), (-0.55,2.48,-0.07,2.96), (0.185,3.145,2.515,5.475), (19.995,3.145,22.325,5.475), (28.845,4.52,31.175,6.85)])
R(out_buf, met1_pin, [(50.195,0.53,51.27,1.61), (-0.92,0.725,-0.015,1.63)])
A(out_buf, met1, 38.61, -1.885, 0.84, 0.085, 1, 3, 0, 2.72)
A(out_buf, met1, 38.61, -1.8, 10.98, 0.3, 1, 3, 0, 2.72)
A(out_buf, met1, 38.61, -1.5, 0.84, 0.095, 1, 3, 0, 2.72)
R(out_buf, met1, [(28.935,-5.915,31.265,-2.53), (38.61,-5.25,49.65,-4.125), (0.5,-4.005,2.83,-0.885), (20,-4.005,22.33,-0.885), (37.345,-3.98,40.825,-3.295), (47.535,-3.47,49.32,-3.06), (37.345,-3.295,38.42,0), (38.95,-3.295,40.825,-3.06), (41.75,-2.95,47.105,-2.635), (41.75,-2.635,51.27,-2.45), (24.875,-2.53,35.915,-1.705), (46.605,-2.45,51.27,-2.135), (50.195,-2.135,51.27,-1.155), (24.875,-1.705,28.935,-1.405), (31.265,-1.705,35.915,-1.405), (23.61,-1.26,27.09,-0.575), (46.61,-1.155,51.27,-0.84), (-0.575,-0.885,23.22,0.24), (41.755,-0.84,51.27,-0.655), (33.8,-0.75,35.585,-0.34), (41.755,-0.655,47.11,-0.34), (50.195,-0.655,51.27,-0.085), (23.61,-0.575,24.685,1.73), (25.215,-0.575,27.09,-0.34), (38.95,-0.245,40.83,0), (28.015,-0.23,33.37,0.085), (50.195,-0.085,53.985,2.245), (37.345,0,40.83,0.085), (28.015,0.085,40.83,0.27), (32.87,0.27,40.83,0.585), (37.345,0.585,40.83,0.635), (37.345,0.635,38.42,1.46), (10.99,0.695,14.43,1.6), (-0.92,0.725,1.305,1.63), (1.475,0.725,4.88,1.63), (5.055,0.725,10.685,1.62), (24.875,0.835,25.715,0.92), (21.11,0.895,22.89,1.31), (24.875,0.92,35.855,1.22), (24.875,1.22,25.715,1.315), (15.315,1.415,20.67,1.73), (37.345,1.46,40.825,1.565), (32.875,1.565,40.825,1.88), (5.055,1.62,6.18,1.63), (15.315,1.73,24.685,1.915), (28.02,1.88,40.825,2.065), (20.17,1.915,24.685,2.23), (47.535,1.97,49.32,2.38), (28.02,2.065,33.375,2.38), (37.345,2.065,40.825,2.145), (37.345,2.145,38.42,5.44), (38.95,2.145,40.825,2.38), (23.61,2.23,24.685,2.72), (50.195,2.245,51.27,2.805), (25.215,2.475,27.095,2.72), (-0.555,2.48,23.22,3.605), (41.75,2.49,47.105,2.805), (23.61,2.72,27.095,3.355), (41.75,2.805,51.27,2.99), (46.605,2.99,51.27,3.305), (50.195,3.305,51.27,4.285), (24.875,3.555,35.915,4.68), (0.185,3.605,2.515,7.135), (19.995,3.605,22.325,7.135), (46.61,4.285,51.27,4.6), (41.755,4.6,51.27,4.785), (28.845,4.68,31.175,8.115), (41.755,4.785,47.11,5.1), (38.95,5.195,40.83,5.44), (37.345,5.44,40.83,6.075), (38.61,6.275,49.65,7.35), (38.61,7.35,49.645,7.4)])
A(out_buf, via, 29.065, -5.755, 0.15, 0.15, 7, 7, 0.32, 0.32)
A(out_buf, via, 38.94, -4.9, 0.15, 0.15, 33, 2, 0.32, 0.32)
A(out_buf, via, 0.63, -3.845, 0.15, 0.15, 7, 7, 0.32, 0.32)
A(out_buf, via, 20.13, -3.845, 0.15, 0.15, 7, 7, 0.32, 0.32)
A(out_buf, via, 38.78, -1.725, 0.15, 0.15, 34, 3, 0.32, 2.72)
A(out_buf, via, 25.045, 0.995, 0.15, 0.15, 34, 1, 0.32, 0)
A(out_buf, via, 0.315, 4.905, 0.15, 0.15, 7, 7, 0.32, 0.32)
A(out_buf, via, 20.125, 4.905, 0.15, 0.15, 7, 7, 0.32, 0.32)
A(out_buf, via, 28.975, 5.885, 0.15, 0.15, 7, 7, 0.32, 0.32)
A(out_buf, via, 38.91, 6.58, 0.15, 0.15, 33, 2, 0.32, 0.32)
R(out_buf, met2_pin, [(49.96,-7.56,52.29,-5.23), (36.1,-7.15,38.43,-4.82)])
R(out_buf, met2, [(36.1,-7.92,38.43,-1.885), (49.96,-7.65,52.29,-5.25), (28.935,-5.93,31.265,-5.885), (28.905,-5.885,31.295,-3.555), (38.61,-5.25,52.29,-4.125), (49.96,-4.125,52.29,0.64), (0.5,-4.02,2.83,-3.975), (20,-4.02,22.33,-3.975), (0.47,-3.975,2.86,-1.645), (19.97,-3.975,22.36,-1.645), (28.935,-3.555,31.265,-3.51), (36.1,-1.885,49.65,-1.405), (0.5,-1.645,2.83,-1.6), (20,-1.645,22.33,-1.6), (36.1,-1.405,38.43,0.835), (47.92,0.64,52.29,0.835), (24.875,0.835,38.43,1.315), (38.61,0.835,52.29,1.315), (36.1,1.315,38.43,3.555), (47.92,1.315,52.29,1.515), (49.96,1.515,52.29,6.275), (36.1,3.555,49.65,4.035), (36.1,4.035,38.43,9.955), (0.185,4.73,2.515,4.775), (19.995,4.73,22.325,4.775), (0.155,4.775,2.545,7.105), (19.965,4.775,22.355,7.105), (28.845,5.71,31.175,5.755), (28.815,5.755,31.205,8.085), (38.61,6.275,52.29,7.4), (0.185,7.105,2.515,7.15), (19.995,7.105,22.325,7.15), (49.96,7.4,52.29,9.93), (28.845,8.085,31.175,8.13)])
A(out_buf, via2, 36.165, -7.81, 0.2, 0.2, 6, 6, 0.4, 0.4)
A(out_buf, via2, 50.025, -7.54, 0.2, 0.2, 6, 6, 0.4, 0.4)
A(out_buf, via2, 29, -5.82, 0.2, 0.2, 6, 6, 0.4, 0.4)
A(out_buf, via2, 0.565, -3.91, 0.2, 0.2, 6, 6, 0.4, 0.4)
A(out_buf, via2, 20.065, -3.91, 0.2, 0.2, 6, 6, 0.4, 0.4)
A(out_buf, via2, 0.25, 4.84, 0.2, 0.2, 6, 6, 0.4, 0.4)
A(out_buf, via2, 20.06, 4.84, 0.2, 0.2, 6, 6, 0.4, 0.4)
A(out_buf, via2, 28.91, 5.82, 0.2, 0.2, 6, 6, 0.4, 0.4)
A(out_buf, via2, 50.025, 7.62, 0.2, 0.2, 6, 6, 0.4, 0.4)
A(out_buf, via2, 36.165, 7.645, 0.2, 0.2, 6, 6, 0.4, 0.4)
R(out_buf, met3, [(36.075,-7.93,38.455,-5.52), (49.935,-7.66,52.315,-5.25), (28.91,-5.94,31.29,-3.53), (0.475,-4.03,2.855,-1.62), (19.975,-4.03,22.355,-1.62), (0.16,4.75,2.54,7.16), (19.97,4.75,22.35,7.16), (28.82,5.73,31.2,8.14), (49.935,7.53,52.315,9.94), (36.075,7.555,38.455,9.965)])
A(out_buf, via3, 36.165, -7.835, 0.2, 0.2, 6, 6, 0.4, 0.4)
A(out_buf, via3, 50.025, -7.565, 0.2, 0.2, 6, 6, 0.4, 0.4)
A(out_buf, via3, 29, -5.845, 0.2, 0.2, 6, 6, 0.4, 0.4)
A(out_buf, via3, 0.565, -3.935, 0.2, 0.2, 6, 6, 0.4, 0.4)
A(out_buf, via3, 20.065, -3.935, 0.2, 0.2, 6, 6, 0.4, 0.4)
A(out_buf, via3, 0.25, 4.865, 0.2, 0.2, 6, 6, 0.4, 0.4)
A(out_buf, via3, 20.06, 4.865, 0.2, 0.2, 6, 6, 0.4, 0.4)
A(out_buf, via3, 28.91, 5.845, 0.2, 0.2, 6, 6, 0.4, 0.4)
A(out_buf, via3, 50.025, 7.645, 0.2, 0.2, 6, 6, 0.4, 0.4)
A(out_buf, via3, 36.165, 7.67, 0.2, 0.2, 6, 6, 0.4, 0.4)
R(out_buf, met4, [(-1.38,-9.46,54.595,-8.02), (-1.38,-8.02,49.38,-6.37), (52.865,-8.02,54.595,-4.715), (49.93,-7.635,52.32,-5.295), (-1.38,-6.37,28.38,-4.495), (31.865,-6.37,49.38,-4.715), (28.905,-5.915,31.295,-3.575), (31.865,-4.715,54.595,-3.065), (-1.38,-4.495,19.43,-4.455), (22.915,-4.495,28.38,-3.065), (-1.38,-4.455,-0.08,-1.15), (3.405,-4.455,19.43,-1.19), (0.47,-4.005,2.86,-1.665), (19.97,-4.005,22.36,-1.665), (22.915,-3.065,54.595,-1.19), (3.405,-1.19,54.595,-1.15), (-1.38,-1.15,54.595,5.31), (-1.38,5.31,28.325,8.615), (31.81,5.31,54.595,7.045), (28.815,5.775,31.205,8.115), (31.81,7.045,49.395,8.615), (52.88,7.045,54.595,10.35), (49.93,7.575,52.32,9.915), (-1.38,8.615,49.395,10.35), (-1.38,10.35,54.595,11.465)])
R(out_buf, via4, [(50.725,-6.87,51.525,-6.07), (29.7,-5.15,30.5,-4.35), (1.265,-3.24,2.065,-2.44), (20.765,-3.24,21.565,-2.44), (29.61,6.55,30.41,7.35), (50.725,8.35,51.525,9.15)])
R(out_buf, met5, [(-1.38,-9.46,54.595,11.465)])
R(out_buf, hvtp, [(38.84,-1.7,49.43,-1.59), (25.105,1.02,35.695,1.13), (38.84,3.74,49.43,3.85)])
R(out_buf, nsdm, [(49.73,-2.245,50.68,-1.015), (36.105,0.48,37.055,1.71), (40.35,0.965,47.92,1.185), (11.43,1.385,12.13,2.62), (49.73,3.195,50.68,4.425)])
R(out_buf, psdm, [(47.94,-4.26,49.67,-3.575), (38.62,-1.755,49.64,-1.535), (24.845,-1.53,26.575,-0.845), (5.1,0.145,6.605,0.665), (47.945,0.315,49.675,1.915), (24.885,0.965,35.905,1.185), (24.87,3.045,26.57,3.68), (38.62,3.685,49.64,3.905), (47.945,5.72,49.675,6.405)])
out_buf.add(gdstk.Reference(sky130_fd_sc_hd__clkinv_, (0,0)))
out_buf.add(gdstk.Reference(c_sky130_fd_sc_hd__clkinv_, (2.22,0)))
out_buf.add(gdstk.Reference(c_sky130_fd_sc_hd__clkinv__, (5.82,0)))
out_buf.add(gdstk.Reference(c_sky130_fd_sc_hd__clkinv___, (12.18,0)))
out_buf.add(gdstk.Reference(c_sky130_fd_sc_hd__clkinv___, (24.875,3.795), x_reflection=True))
out_buf.add(gdstk.Reference(c_sky130_fd_sc_hd__clkinv___, (24.875,-1.645)))
out_buf.add(gdstk.Reference(c_sky130_fd_sc_hd__clkinv___, (38.61,1.075), x_reflection=True))
out_buf.add(gdstk.Reference(c_sky130_fd_sc_hd__clkinv___, (38.61,-4.365)))
out_buf.add(gdstk.Reference(c_sky130_fd_sc_hd__clkinv___, (38.61,1.075)))
out_buf.add(gdstk.Reference(c_sky130_fd_sc_hd__clkinv___, (38.61,6.515), x_reflection=True))
out_buf.add(gdstk.Label('vdd', (-0.31,2.72), layer=68, texttype=5))
out_buf.add(gdstk.Label('vss', (-0.335,0), layer=68, texttype=5))
out_buf.add(gdstk.Label('vss', (30.01,5.685), layer=68, texttype=5))
out_buf.add(gdstk.Label('vss', (30.1,-3.48), layer=68, texttype=5))
out_buf.add(gdstk.Label('vss', (21.165,-1.555), layer=68, texttype=5))
out_buf.add(gdstk.Label('vss', (1.665,-1.555), layer=68, texttype=5))
out_buf.add(gdstk.Label('vdd', (21.16,4.31), layer=68, texttype=5))
out_buf.add(gdstk.Label('vdd', (1.35,4.31), layer=68, texttype=5))
out_buf.add(gdstk.Label('vdd', (37.265,-5.985), layer=69, texttype=16))
out_buf.add(gdstk.Label('vss', (51.125,-6.395), layer=69, texttype=16))
out_buf.add(gdstk.Label('in', (-0.467,1.177), layer=68, texttype=16))
out_buf.add(gdstk.Label('out', (50.732,1.07), layer=68, texttype=16))

lib.write_gds('out_buf.gds')
